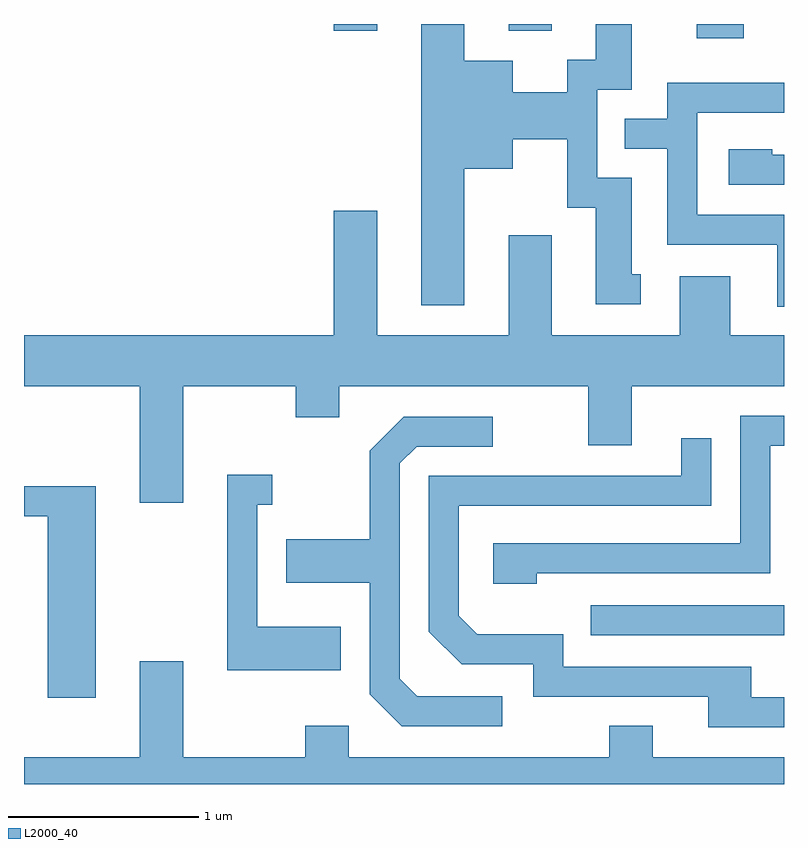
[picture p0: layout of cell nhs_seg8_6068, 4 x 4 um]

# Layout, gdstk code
import gdstk
lib = gdstk.Library(unit=1e-6, precision=1e-09)
def R(c, l, rs):  # rectangles x0, y0, x1, y1
    for r in rs: c.add(gdstk.rectangle(r[:2], r[2:], *l))
def P(c, l, *ps):  # polygons
    for p in ps: c.add(gdstk.Polygon(p, *l))
L2000_40 = (2000, 40)

nhs_seg8_6068 = lib.new_cell('nhs_seg8_6068')
R(nhs_seg8_6068, L2000_40, [(370.593,1815.126,371.611,1815.284), (371.151,1818.266,371.399,1818.342), (369.241,1818.306,369.469,1818.342), (370.161,1818.306,370.389,1818.342)])
P(nhs_seg8_6068, L2000_40, [(369.929,1817.581),(370.184,1817.581),(370.184,1817.736),(370.471,1817.736),(370.471,1817.376),(370.621,1817.376),(370.621,1816.866),(370.858,1816.866),(370.858,1817.024),(370.809,1817.024),(370.809,1817.534),(370.629,1817.534),(370.629,1817.996),(370.809,1817.996),(370.809,1818.342),(370.621,1818.342),(370.621,1818.154),(370.471,1818.154),(370.471,1817.984),(370.184,1817.984),(370.184,1818.149),(369.929,1818.149),(369.929,1818.342),(369.701,1818.342),(369.701,1816.861),(369.929,1816.861)],
  [(371.611,1817.339),(371.154,1817.339),(371.154,1817.876),(371.611,1817.876),(371.611,1818.034),(370.996,1818.034),(370.996,1817.844),(370.773,1817.844),(370.773,1817.686),(370.996,1817.686),(370.996,1817.181),(371.576,1817.181),(371.576,1816.853),(371.611,1816.853)],
  [(371.611,1817.654),(371.549,1817.654),(371.549,1817.684),(371.321,1817.684),(371.321,1817.496),(371.611,1817.496)],
  [(368.449,1816.436),(369.041,1816.436),(369.041,1816.271),(369.269,1816.271),(369.269,1816.436),(370.581,1816.436),(370.581,1816.126),(370.809,1816.126),(370.809,1816.436),(371.611,1816.436),(371.611,1816.704),(371.329,1816.704),(371.329,1817.014),(371.061,1817.014),(371.061,1816.704),(370.389,1816.704),(370.389,1817.229),(370.161,1817.229),(370.161,1816.704),(369.469,1816.704),(369.469,1817.359),(369.241,1817.359),(369.241,1816.704),(367.611,1816.704),(367.611,1816.436),(368.221,1816.436),(368.221,1815.821),(368.449,1815.821)],
  [(370.309,1815.451),(371.539,1815.451),(371.539,1816.121),(371.611,1816.121),(371.611,1816.279),(371.381,1816.279),(371.381,1815.609),(370.081,1815.609),(370.081,1815.396),(370.309,1815.396)],
  [(370.128,1814.804),(369.682,1814.804),(369.589,1814.897),(369.589,1816.029),(369.677,1816.116),(370.078,1816.116),(370.078,1816.274),(369.609,1816.274),(369.431,1816.097),(369.431,1815.629),(368.991,1815.629),(368.991,1815.401),(369.431,1815.401),(369.431,1814.814),(369.599,1814.646),(370.128,1814.646)],
  [(371.611,1814.799),(371.439,1814.799),(371.439,1814.959),(370.449,1814.959),(370.449,1815.129),(369.997,1815.129),(369.899,1815.227),(369.899,1815.806),(371.229,1815.806),(371.229,1816.163),(371.071,1816.163),(371.071,1815.964),(369.741,1815.964),(369.741,1815.144),(369.914,1814.971),(370.291,1814.971),(370.291,1814.801),(371.211,1814.801),(371.211,1814.641),(371.611,1814.641)],
  [(369.279,1815.169),(368.839,1815.169),(368.839,1815.811),(368.918,1815.811),(368.918,1815.969),(368.681,1815.969),(368.681,1814.941),(369.279,1814.941)],
  [(367.989,1815.909),(367.611,1815.909),(367.611,1815.751),(367.736,1815.751),(367.736,1814.796),(367.989,1814.796)],
  [(371.611,1814.484),(370.919,1814.484),(370.919,1814.649),(370.691,1814.649),(370.691,1814.484),(369.319,1814.484),(369.319,1814.649),(369.091,1814.649),(369.091,1814.484),(368.449,1814.484),(368.449,1814.989),(368.221,1814.989),(368.221,1814.484),(367.611,1814.484),(367.611,1814.342),(371.611,1814.342)])

lib.write_gds('nhs_seg8_6068.gds')
